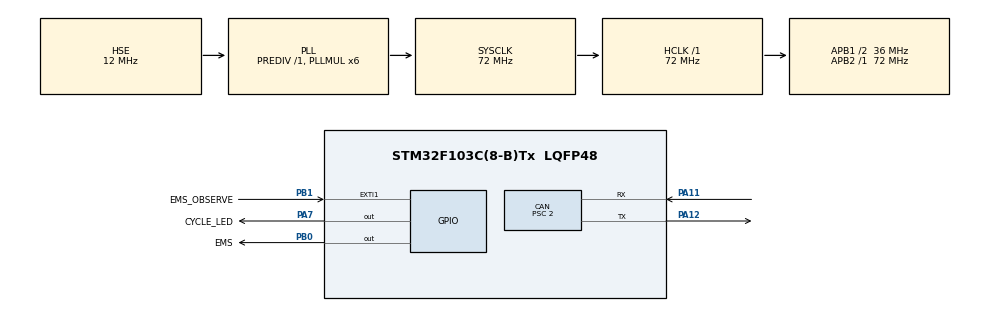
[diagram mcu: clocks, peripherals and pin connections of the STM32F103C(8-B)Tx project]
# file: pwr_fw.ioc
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CAN.BS1=CAN_BS1_16TQ
CAN.CalculateBaudRate=1000000
CAN.CalculateTimeBit=1000
CAN.CalculateTimeQuantum=55.55555555555556
CAN.Prescaler=2
Mcu.Family=STM32F1
Mcu.Name=STM32F103C(8-B)Tx
Mcu.Package=LQFP48
NVIC.EXTI1_IRQn=true\:0\:0\:false\:false\:true\:true\:true\:true
NVIC.PriorityGroup=NVIC_PRIORITYGROUP_0
NVIC.USB_LP_CAN1_RX0_IRQn=true\:0\:0\:false\:false\:true\:true\:true\:true
PA11.Mode=CAN_Activate
PA11.Signal=CAN_RX
PA12.Mode=CAN_Activate
PA12.Signal=CAN_TX
PA13.Mode=Trace_Asynchronous_SW
PA13.Signal=SYS_JTMS-SWDIO
PA14.Mode=Trace_Asynchronous_SW
PA14.Signal=SYS_JTCK-SWCLK
PA7.GPIO_Label=CYCLE_LED
PA7.Signal=GPIO_Output
PB0.GPIO_Label=EMS
PB0.Signal=GPIO_Output
PB1.GPIO_Label=EMS_OBSERVE
PB1.GPIO_ModeDefaultEXTI=GPIO_MODE_IT_RISING_FALLING
PB1.Signal=GPXTI1
PB3.Mode=Trace_Asynchronous_SW
PB3.Signal=SYS_JTDO-TRACESWO
PD0-OSC_IN.Mode=HSE-External-Oscillator
PD0-OSC_IN.Signal=RCC_OSC_IN
PD1-OSC_OUT.Mode=HSE-External-Oscillator
PD1-OSC_OUT.Signal=RCC_OSC_OUT
ProjectManager.HeapSize=0x200
ProjectManager.StackSize=0x400
ProjectManager.TargetToolchain=STM32CubeIDE
RCC.AHBFreq_Value=72000000
RCC.APB1CLKDivider=RCC_HCLK_DIV2
RCC.APB1Freq_Value=36000000
RCC.APB1TimFreq_Value=72000000
RCC.APB2Freq_Value=72000000
RCC.APB2TimFreq_Value=72000000
RCC.HCLKFreq_Value=72000000
RCC.HSE_VALUE=12000000
RCC.PLLMUL=RCC_PLL_MUL6
RCC.PLLSourceVirtual=RCC_PLLSOURCE_HSE
RCC.SYSCLKFreq_VALUE=72000000
RCC.SYSCLKSource=RCC_SYSCLKSOURCE_PLLCLK
RCC.USBFreq_Value=72000000
board=custom

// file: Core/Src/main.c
/* USER CODE BEGIN Header */
/**
  ******************************************************************************
  * @file           : main.c
  * @brief          : Main program body
  ******************************************************************************
  * @attention
  *
  * Copyright (c) 2025 STMicroelectronics.
  * All rights reserved.
  *
  * This software is licensed under terms that can be found in the LICENSE file
  * in the root directory of this software component.
  * If no LICENSE file comes with this software, it is provided AS-IS.
  *
  ******************************************************************************
  */
/* USER CODE END Header */
#include "main.h"
#include "can.h"
#include "gpio.h"

/* USER CODE BEGIN Includes */
#include <stdio.h>
/* USER CODE END Includes */

void SystemClock_Config(void);

int main(void)
{

  /* MCU Configuration--------------------------------------------------------*/

  /* Reset of all peripherals, Initializes the Flash interface and the Systick. */
  HAL_Init();

  /* Configure the system clock */
  SystemClock_Config();

  /* Initialize all configured peripherals */
  MX_GPIO_Init();
  MX_CAN_Init();
  /* USER CODE BEGIN 2 */
  // 基底
    const int control_ms = 2;
    const int debug_ms = 100;
    uint32_t time = 0;
    uint32_t time_debug = 0;

    CAN_FilterTypeDef filter;
    uint32_t fId   =  0x000 << 21;        // フィルターID
    uint32_t fMask = (0x7F0 << 21) | 0x4; // フィルターマスク

    filter.FilterIdHigh         = fId >> 16;             // フィルターIDの上位16ビット
    filter.FilterIdLow          = fId;                   // フィルターIDの下位16ビット
    filter.FilterMaskIdHigh     = fMask >> 16;           // フィルターマスクの上位16ビット
    filter.FilterMaskIdLow      = fMask;                 // フィルターマスクの下位16ビット
    filter.FilterScale          = CAN_FILTERSCALE_32BIT; // 32モード
    filter.FilterFIFOAssignment = CAN_FILTER_FIFO0;      // FIFO0へ格納
    filter.FilterBank           = 0;
    filter.FilterMode           = CAN_FILTERMODE_IDMASK; // IDマスクモード
    filter.SlaveStartFilterBank = 14;
    filter.FilterActivation     = ENABLE;

    HAL_CAN_ConfigFilter(&hcan, &filter);

    HAL_CAN_Start(&hcan);
    HAL_CAN_ActivateNotification(&hcan, CAN_IT_RX_FIFO0_MSG_PENDING);

    // 最初は制御非常停止をかけない
    HAL_GPIO_WritePin(EMS_GPIO_Port, EMS_Pin, GPIO_PIN_SET);

    // 最初に現状の非常停止の状態を送信
    CAN_TxHeaderTypeDef header;
    uint32_t mailbox;
    uint8_t data[8];
    if (HAL_GPIO_ReadPin(EMS_OBSERVE_GPIO_Port, EMS_OBSERVE_Pin)) data[0] = 0x0;
    else data[0] = 0x1;
    if(0 < HAL_CAN_GetTxMailboxesFreeLevel(&hcan)){
        header.StdId = 0x00F;
        header.RTR = CAN_RTR_DATA;
        header.IDE = CAN_ID_STD;
        header.DLC = 1;
        header.TransmitGlobalTime = DISABLE;
        HAL_CAN_AddTxMessage(&hcan, &header, data, &mailbox);
    }

  /* USER CODE END 2 */

  /* Infinite loop */
  /* USER CODE BEGIN WHILE */
    while (1)
    {
        if(HAL_GetTick() - time > control_ms){
            time = HAL_GetTick();

            if(HAL_GetTick() - time_debug > debug_ms){
                time_debug = HAL_GetTick();
                HAL_GPIO_TogglePin(CYCLE_LED_GPIO_Port, CYCLE_LED_Pin);
            }
        }
    /* USER CODE END WHILE */

  }
}

void SystemClock_Config(void)
{
  RCC_OscInitTypeDef RCC_OscInitStruct = {0};
  RCC_ClkInitTypeDef RCC_ClkInitStruct = {0};

  /** Initializes the RCC Oscillators according to the specified parameters
  * in the RCC_OscInitTypeDef structure.
  */
  RCC_OscInitStruct.OscillatorType = RCC_OSCILLATORTYPE_HSE;
  RCC_OscInitStruct.HSEState = RCC_HSE_ON;
  RCC_OscInitStruct.HSEPredivValue = RCC_HSE_PREDIV_DIV1;
  RCC_OscInitStruct.HSIState = RCC_HSI_ON;
  RCC_OscInitStruct.PLL.PLLState = RCC_PLL_ON;
  RCC_OscInitStruct.PLL.PLLSource = RCC_PLLSOURCE_HSE;
  RCC_OscInitStruct.PLL.PLLMUL = RCC_PLL_MUL6;
  if (HAL_RCC_OscConfig(&RCC_OscInitStruct) != HAL_OK)
  {
    Error_Handler();
  }

  /** Initializes the CPU, AHB and APB buses clocks
  */
  RCC_ClkInitStruct.ClockType = RCC_CLOCKTYPE_HCLK|RCC_CLOCKTYPE_SYSCLK
                              |RCC_CLOCKTYPE_PCLK1|RCC_CLOCKTYPE_PCLK2;
  RCC_ClkInitStruct.SYSCLKSource = RCC_SYSCLKSOURCE_PLLCLK;
  RCC_ClkInitStruct.AHBCLKDivider = RCC_SYSCLK_DIV1;
  RCC_ClkInitStruct.APB1CLKDivider = RCC_HCLK_DIV2;
  RCC_ClkInitStruct.APB2CLKDivider = RCC_HCLK_DIV1;

  if (HAL_RCC_ClockConfig(&RCC_ClkInitStruct, FLASH_LATENCY_2) != HAL_OK)
  {
    Error_Handler();
  }
}

/* USER CODE BEGIN 4 */
// printf関数
int _write(int file, char *ptr, int len){
  int DataIdx;
  for(DataIdx=0; DataIdx<len; DataIdx++){
    ITM_SendChar(*ptr++);
  }
  return len;
}

// GPIO割り込みコールバック
void HAL_GPIO_EXTI_Callback(uint16_t GPIO_Pin){
  if(GPIO_Pin == EMS_OBSERVE_Pin){
    CAN_TxHeaderTypeDef header;
    uint32_t mailbox;
    uint8_t data[8];
    if (HAL_GPIO_ReadPin(EMS_OBSERVE_GPIO_Port, EMS_OBSERVE_Pin)) data[0] = 0x0;
    else data[0] = 0x1;

    if(0 < HAL_CAN_GetTxMailboxesFreeLevel(&hcan)){
        header.StdId = 0x00F;
        header.RTR = CAN_RTR_DATA;
        header.IDE = CAN_ID_STD;
        header.DLC = 1;
        header.TransmitGlobalTime = DISABLE;
        HAL_CAN_AddTxMessage(&hcan, &header, data, &mailbox);
    }
  }
}

// CANコールバック
void HAL_CAN_RxFifo0MsgPendingCallback(CAN_HandleTypeDef *hcan){
    CAN_RxHeaderTypeDef RxHeader;
    uint32_t id;
    uint32_t dlc;
    uint8_t rxdata[8];
    if (HAL_CAN_GetRxMessage(hcan, CAN_RX_FIFO0, &RxHeader, rxdata) == HAL_OK){
        id = (RxHeader.IDE == CAN_ID_STD)? RxHeader.StdId : RxHeader.ExtId;
        dlc = RxHeader.DLC;

        if(id == 0x000){
            HAL_GPIO_WritePin(EMS_GPIO_Port, EMS_Pin, GPIO_PIN_RESET);
        }
        else if(id == 0x001){
            HAL_GPIO_WritePin(EMS_GPIO_Port, EMS_Pin, GPIO_PIN_SET);
        }
    }
}
/* USER CODE END 4 */

void Error_Handler(void)
{
  __disable_irq();
  while (1)
  {
  }
}
